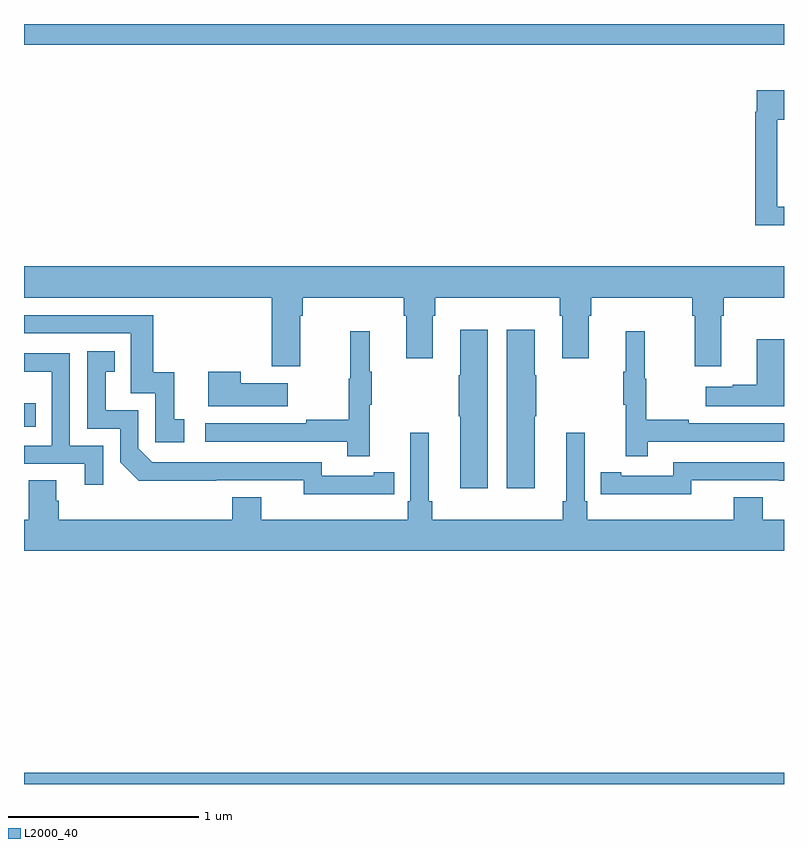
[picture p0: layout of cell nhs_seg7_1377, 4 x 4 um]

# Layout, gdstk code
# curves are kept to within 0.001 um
import gdstk
lib = gdstk.Library(unit=1e-6, precision=1e-09)
def R(c, l, rs):  # rectangles x0, y0, x1, y1
    for r in rs: c.add(gdstk.rectangle(r[:2], r[2:], *l))
def P(c, l, *ps):  # polygons
    for p in ps: c.add(gdstk.Polygon(p, *l))
L2000_40 = (2000, 40)

nhs_seg7_1377 = lib.new_cell('nhs_seg7_1377')
R(nhs_seg7_1377, L2000_40, [(205,1054,209,1054.06), (205,1055.88,205.061,1056.003), (205,1057.892,209,1058)])
P(nhs_seg7_1377, L2000_40, [(209,1057.038),(208.965,1057.038),(208.965,1057.495),(209,1057.495),(209,1057.651),(208.857,1057.651),(208.857,1057.538),(208.849,1057.538),(208.849,1056.941),(209,1056.941)],
  [(205,1056.56),(206.303,1056.56),(206.303,1056.198),(206.455,1056.198),(206.455,1056.464),(206.468,1056.464),(206.468,1056.56),(206.999,1056.56),(206.999,1056.464),(207.011,1056.464),(207.011,1056.24),(207.151,1056.24),(207.151,1056.464),(207.164,1056.464),(207.164,1056.56),(207.821,1056.56),(207.821,1056.464),(207.833,1056.464),(207.833,1056.24),(207.973,1056.24),(207.973,1056.464),(207.986,1056.464),(207.986,1056.56),(208.517,1056.56),(208.517,1056.464),(208.529,1056.464),(208.529,1056.198),(208.669,1056.198),(208.669,1056.464),(208.682,1056.464),(208.682,1056.56),(209,1056.56),(209,1056.724),(205,1056.724)],
  [(205.843,1055.919),(205.79,1055.919),(205.79,1056.166),(205.679,1056.166),(205.679,1056.468),(205,1056.468),(205,1056.372),(205.563,1056.372),(205.563,1056.057),(205.692,1056.057),(205.692,1055.799),(205.843,1055.799)],
  [(207.688,1055.935),(207.696,1055.935),(207.696,1056.152),(207.688,1056.152),(207.688,1056.391),(207.542,1056.391),(207.542,1055.556),(207.688,1055.556)],
  [(207.442,1056.391),(207.296,1056.391),(207.296,1056.152),(207.289,1056.152),(207.289,1055.935),(207.296,1055.935),(207.296,1055.556),(207.442,1055.556)],
  [(206.819,1055.995),(206.83,1055.995),(206.83,1056.169),(206.819,1056.169),(206.819,1056.382),(206.716,1056.382),(206.716,1056.132),(206.709,1056.132),(206.709,1055.918),(206.485,1055.918),(206.485,1055.898),(205.953,1055.898),(205.953,1055.802),(206.701,1055.802),(206.701,1055.724),(206.819,1055.724)],
  [(208.283,1055.802),(209,1055.802),(209,1055.898),(208.499,1055.898),(208.499,1055.918),(208.276,1055.918),(208.276,1056.132),(208.268,1056.132),(208.268,1056.382),(208.166,1056.382),(208.166,1056.169),(208.155,1056.169),(208.155,1055.995),(208.166,1055.995),(208.166,1055.724),(208.283,1055.724)],
  [(209,1056.34),(208.856,1056.34),(208.856,1056.101),(208.73,1056.101),(208.73,1056.091),(208.587,1056.091),(208.587,1055.987),(209,1055.987)],
  [(206.84,1055.526),(206.948,1055.526),(206.948,1055.642),(206.84,1055.642),(206.84,1055.622),(206.568,1055.622),(206.568,1055.694),(205.674,1055.694),(205.602,1055.766),(205.602,1055.967),(205.429,1055.967),(205.429,1056.171),(205.478,1056.171),(205.478,1056.277),(205.332,1056.277),(205.332,1055.871),(205.506,1055.871),(205.506,1055.694),(205.604,1055.597),(206.472,1055.598),(206.472,1055.525)],
  [(205.416,1055.781),(205.242,1055.781),(205.242,1056.267),(205,1056.267),(205,1056.17),(205.146,1056.17),(205.146,1055.781),(205,1055.781),(205,1055.685),(205.319,1055.685),(205.319,1055.574),(205.416,1055.574)],
  [(206.389,1056.109),(206.141,1056.109),(206.141,1056.169),(205.97,1056.169),(205.97,1055.987),(206.389,1055.987)],
  [(209,1055.392),(208.889,1055.392),(208.889,1055.509),(208.736,1055.509),(208.736,1055.392),(207.965,1055.392),(207.965,1055.488),(207.951,1055.488),(207.951,1055.848),(207.854,1055.848),(207.854,1055.488),(207.835,1055.488),(207.835,1055.392),(207.149,1055.392),(207.149,1055.488),(207.13,1055.488),(207.13,1055.848),(207.033,1055.848),(207.033,1055.488),(207.02,1055.488),(207.02,1055.392),(206.248,1055.392),(206.248,1055.509),(206.096,1055.509),(206.096,1055.392),(205.184,1055.392),(205.184,1055.49),(205.171,1055.49),(205.171,1055.6),(205.024,1055.6),(205.024,1055.392),(205,1055.392),(205,1055.228),(209,1055.228)],
  [(208.512,1055.598),(208.972,1055.598),(208.972,1055.597),(209,1055.597),(209,1055.694),(208.416,1055.694),(208.416,1055.622),(208.144,1055.622),(208.144,1055.642),(208.036,1055.642),(208.036,1055.526),(208.144,1055.526),(208.144,1055.525),(208.512,1055.525)])

lib.write_gds('nhs_seg7_1377.gds')
